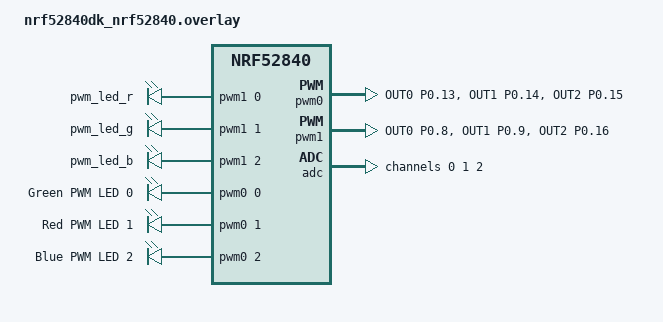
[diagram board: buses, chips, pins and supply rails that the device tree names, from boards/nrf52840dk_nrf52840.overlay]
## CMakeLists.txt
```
cmake_minimum_required(VERSION 3.20.0)
# Top-level CMakeLists.txt for the skeleton application.
#
# Copyright (c) 2017 Open Source Foundries Limited
#
# SPDX-License-Identifier: Apache-2.0
#
# This provides a basic application structure suitable for communication using
# mcumgr.  It can be used as a starting point for new applications.

# Standard Zephyr application boilerplate.
find_package(Zephyr REQUIRED HINTS $ENV{ZEPHYR_BASE})
project(app_purple_pedal)

# include(${ZEPHYR_BASE}/samples/subsys/usb/common/common.cmake)
FILE(GLOB app_sources src/*.c)
target_sources(app PRIVATE ${app_sources})
#include(${ZEPHYR_BASE}/samples/subsys/usb/common/common.cmake)
# FILE(GLOB app_sources src/*.c)
# target_sources(app PRIVATE ${app_sources})
#target_sources(app PRIVATE 
#    src/adc.c
#    src/curve.c
#    src/led.c
#    src/main.c 
#    # src/nvs_settings.c // Saving calibration is in preset.c
#    src/usb.c
#    src/preset.c
#)
```

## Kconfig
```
# Source common USB sample options used to initialize new experimental USB
# device stack. The scope of these options is limited to USB samples in project
# tree, you cannot use them in your own application.



# source "samples/subsys/usb/common/Kconfig.sample_usbd"

menu "USB sample options"
	depends on USB_DEVICE_STACK_NEXT

config SAMPLE_USBD_MANUFACTURER
	string "USB device sample manufacturer string"
	default "Zephyr Project"
	help
	  USB device sample manufacturer string.

config SAMPLE_USBD_PRODUCT
	string "USB device sample product string"
	default "USBD sample"
	help
	  USB device sample product stringa.

config SAMPLE_USBD_VID
	hex "USB device sample Vendor ID"
	default 0x0483
	help
	  USB device sample Vendor ID. The default id (0x2fe3) is associated to
	  Zephyr Project, you must use your own VID for samples and applications
	  outside of Zephyr Project.

config SAMPLE_USBD_PID
	hex "USB device sample Product ID"
	default 0xa575
	help
	  USB device sample Product ID. You must use your own PID for samples
	  and applications outside of Zephyr Project.

config SAMPLE_USBD_DFU_PID
	hex "USB device sample Product ID for DFU mode"
	default 0xffff
	help
	  USB device sample Product ID for DFU mode. You must use your own PID for samples
	  and applications outside of Zephyr Project.

config SAMPLE_USBD_SELF_POWERED
	bool "USB device sample Self-powered attribute"
	default y
	help
	  Set the Self-powered attribute in the sample configuration.

config SAMPLE_USBD_REMOTE_WAKEUP
	bool "USB device sample Remote Wakeup attribute"
	help
	  Set the Remote Wakeup attribute in the sample configuration.

config SAMPLE_USBD_MAX_POWER
	int "USB device sample bMaxPower value"
	default 125
	range 0 250
	help
	  bMaxPower value in the sample configuration in 2 mA units.

config SAMPLE_USBD_20_EXTENSION_DESC
	bool "Use default USB 2.0 Extension Descriptor"
	depends on USBD_BOS_SUPPORT
	help
	  Set bcdUSB value to 0201 and use default USB 2.0 Extension Descriptor.

endmenu

source "Kconfig.zephyr"

# menu "Purple Pedal App options"

# config APP_VERSION_MAJOR
# 	int "Application firmware major version number"
#     default 0
#     range 0 $(UINT8_MAX)
# 	help
# 	  Use this to set firmware version number (major).

# config APP_VERSION_MINOR
# 	int "Application firmware minor version number"
#     default 0
#     range 0 $(UINT8_MAX)
# 	help
# 	  Use this to set firmware version number (minor).

# endmenu

module = APP
module-str = APP
source "subsys/logging/Kconfig.template.log_config"
```

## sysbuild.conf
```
# Enable MCUboot bootloader support
SB_CONFIG_BOOTLOADER_MCUBOOT=y
#SB_CONFIG_MCUBOOT_MODE_OVERWRITE_ONLY=y
SB_CONFIG_MCUBOOT_MODE_SWAP_USING_OFFSET=y
# turn on XIP then update won't work. maybe need to actively select slot to execute?
#SB_CONFIG_MCUBOOT_MODE_DIRECT_XIP=y
```

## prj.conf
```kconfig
CONFIG_FLASH=y
CONFIG_FLASH_MAP=y
CONFIG_STREAM_FLASH=y
CONFIG_IMG_MANAGER=y
CONFIG_IMG_ERASE_PROGRESSIVELY=y

CONFIG_NVS=y
CONFIG_SETTINGS=y
CONFIG_SETTINGS_NVS=y

CONFIG_USB_DEVICE_STACK_NEXT=y
CONFIG_CDC_ACM_SERIAL_INITIALIZE_AT_BOOT=n
CONFIG_USBD_DFU=y
CONFIG_USBD_DFU_FLASH=y
CONFIG_USBD_DFU_FLASH_SLOT0=y
CONFIG_USBD_DFU_FLASH_SLOT1=y
CONFIG_USBD_THREAD_STACK_SIZE=4096
#need to do proper HID initialization otherwise USBD will crash
CONFIG_USBD_HID_SUPPORT=y
#below 2 values helps resolve error msg when plugged into PC
CONFIG_UDC_BUF_COUNT=128
CONFIG_UDC_BUF_POOL_SIZE=8192

CONFIG_LOG=y
CONFIG_USBD_LOG_LEVEL_WRN=y
CONFIG_USBD_DFU_LOG_LEVEL_WRN=y
CONFIG_UDC_DRIVER_LOG_LEVEL_WRN=y
CONFIG_APP_LOG_LEVEL_DBG=y

CONFIG_SAMPLE_USBD_PID=0x0005

# CONFIG_DISK_ACCESS=y

# CONFIG_MAIN_STACK_SIZE=8192
# CONFIG_SYSTEM_WORKQUEUE_STACK_SIZE=8192

CONFIG_ADC=y
#CONFIG_ADC_ASYNC=y

CONFIG_ZBUS=y

CONFIG_LED=y
CONFIG_PWM=y
CONFIG_LED_PWM=y

CONFIG_SMF=y

CONFIG_REBOOT=y

#main stack size might play a role in USB init failure/issue
CONFIG_MAIN_STACK_SIZE=1024

CONFIG_SAMPLE_USBD_MANUFACTURER="Purple Race Labs B.V."
CONFIG_SAMPLE_USBD_PRODUCT="PRL Pedals"
CONFIG_SAMPLE_USBD_VID=0x0483
CONFIG_SAMPLE_USBD_PID=0xa575

#below options helps to debug USB
# CONFIG_USBD_HID_LOG_LEVEL_DBG=y
# CONFIG_USBD_LOG_LEVEL_DBG=y
# CONFIG_UDC_DRIVER_LOG_LEVEL_DBG=y
# CONFIG_SPI_LOG_LEVEL_DBG=y
CONFIG_ADC_LOG_LEVEL_DBG=y
CONFIG_DEBUG_OPTIMIZATIONS=y
CONFIG_SETTINGS_SHELL=y
```

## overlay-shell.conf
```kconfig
CONFIG_SHELL=y
CONFIG_SHELL_BACKEND_SERIAL=y
CONFIG_SHELL_STACK_SIZE=8192

#CONFIG_LOG_BACKEND_UART_ASYNC=y
# CONFIG_SHELL_BACKEND_SERIAL_API_ASYNC=y
# CONFIG_SHELL_BACKEND_SERIAL_INTERRUPT_DRIVEN=n
# CONFIG_UART_ASYNC_API=y
# CONFIG_SHELL_ASYNC_API=y

# CONFIG_UART_ASYNC_API=y
# CONFIG_SHELL_BACKEND_SERIAL_API_ASYNC=y
# CONFIG_LOG_BACKEND_UART_ASYNC=y
# CONFIG_SHELL_ASYNC_API=y

# CONFIG_MAIN_THREAD_PRIORITY=6
# CONFIG_SHELL_THREAD_PRIORITY_OVERRIDE=y
# CONFIG_SHELL_THREAD_PRIORITY=1
# CONFIG_SPEED_OPTIMIZATIONS=y
```

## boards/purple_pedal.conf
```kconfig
# CONFIG_DMA=y
# CONFIG_SPI_STM32_DMA=y
CONFIG_SPI_STM32_INTERRUPT=y
```

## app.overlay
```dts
/*
 * Copyright (c) 2023 Nordic Semiconductor ASA
 *
 * SPDX-License-Identifier: Apache-2.0
 */

// / {
// 	hid_dev_0: hid_dev_0 {
// 		compatible = "zephyr,hid-device";
// 		label = "HID0";
// 		protocol-code = "none";
// 		in-report-size = <64>;
// 		in-polling-period-us = <1000>;
// 	};
// };
```

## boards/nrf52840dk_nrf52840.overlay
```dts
&pinctrl {
	pwm0_default: pwm0_default {
		group1 {
			psels = <NRF_PSEL(PWM_OUT0, 0, 13)>,
				<NRF_PSEL(PWM_OUT1, 0, 14)>,
				<NRF_PSEL(PWM_OUT2, 0, 15)>;
			nordic,invert;
		};
	};

	pwm0_sleep: pwm0_sleep {
		group1 {
			psels = <NRF_PSEL(PWM_OUT0, 0, 13)>,
				<NRF_PSEL(PWM_OUT1, 0, 14)>,
				<NRF_PSEL(PWM_OUT2, 0, 15)>;
			low-power-enable;
		};
	};

	pwm1_default: pwm1_default {
		group1 {
			psels = <NRF_PSEL(PWM_OUT0, 0, 8)>,
				<NRF_PSEL(PWM_OUT1, 0, 9)>,
				<NRF_PSEL(PWM_OUT2, 0, 16)>;
			nordic,invert;
		};
	};

	pwm1_sleep: pwm1_sleep {
		group1 {
			psels = <NRF_PSEL(PWM_OUT0, 0, 8)>,
				<NRF_PSEL(PWM_OUT1, 0, 9)>,
				<NRF_PSEL(PWM_OUT2, 0, 16)>;
			low-power-enable;
		};
	};

};


/ {
	hid_dev_0: hid_dev_0 {
		compatible = "zephyr,hid-device";
		label = "HID0";
		protocol-code = "none";
		in-report-size = <64>;
		in-polling-period-us = <10000>;
	};

	/delete-node/ pwmleds;
	pwm_leds_rgb: pwm1leds {
		compatible = "pwm-leds";
		status = "okay";
		pwm_led_r: pwm_led_r {
			pwms = <&pwm1 0 PWM_MSEC(20) PWM_POLARITY_NORMAL>;
		};
		pwm_led_g: pwm_led_g {
			pwms = <&pwm1 1 PWM_MSEC(20) PWM_POLARITY_NORMAL>;
		};
		pwm_led_b: pwm_led_b {
			pwms = <&pwm1 2 PWM_MSEC(20) PWM_POLARITY_NORMAL>;
		};
	};

	pwm_leds_pedal: pwm0leds {
		compatible = "pwm-leds";
		status = "okay";
		pwm_led0_green: pwm_led_0 {
			pwms = <&pwm0 0 PWM_MSEC(20) PWM_POLARITY_INVERTED>;
			label = "Green PWM LED 0";
		};

		pwm_led1_red: pwm_led_1 {
			pwms = <&pwm0 1 PWM_MSEC(20) PWM_POLARITY_INVERTED>;
			label = "Red PWM LED 1";
		};

		pwm_led2_blue: pwm_led_2 {
			pwms = <&pwm0 2 PWM_MSEC(20) PWM_POLARITY_INVERTED>;
			label = "Blue PWM LED 2";
		};
	};

	aliases {
		pedal-adc = &adc;
		pwm-led0 = &pwm_led0_green;
	};
};

&pwm0 {
	status = "okay";
	pinctrl-0 = <&pwm0_default>;
	pinctrl-1 = <&pwm0_sleep>;
	pinctrl-names = "default", "sleep";
};

&pwm1 {
	status = "okay";
	pinctrl-0 = <&pwm1_default>;
	pinctrl-1 = <&pwm1_sleep>;
	pinctrl-names = "default", "sleep";
};

&adc {
	#address-cells = <1>;
	#size-cells = <0>;

	channel@0 {
		reg = <0>;
		zephyr,gain = "ADC_GAIN_1_6";
		zephyr,reference = "ADC_REF_INTERNAL";
		zephyr,acquisition-time = <ADC_ACQ_TIME_DEFAULT>;
		zephyr,input-positive = <NRF_SAADC_AIN1>; /* P0.03 */
	};

	channel@1 {
		reg = <1>;
		zephyr,gain = "ADC_GAIN_1_6";
		zephyr,reference = "ADC_REF_INTERNAL";
		zephyr,acquisition-time = <ADC_ACQ_TIME_DEFAULT>;
		zephyr,input-positive = <NRF_SAADC_AIN2>;/* P0.04 */
	};

    channel@2 {
		reg = <2>;
		zephyr,gain = "ADC_GAIN_1_6";
		zephyr,reference = "ADC_REF_INTERNAL";
		zephyr,acquisition-time = <ADC_ACQ_TIME_DEFAULT>;
		zephyr,input-positive = <NRF_SAADC_AIN4>;/* P0.28 */
	};
};
```

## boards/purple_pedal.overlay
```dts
#include <zephyr/dt-bindings/adc/ad7124-adc.h>
/ {
	hid_dev_0: hid_dev_0 {
		compatible = "zephyr,hid-device";
		label = "PurplePedal";
		protocol-code = "none";
		in-report-size = <64>;
		in-polling-period-us = <1000>;
	};

	aliases {
		pedal-adc = &adc_ad7124;
	};
};

// &dma1 {
// 	status = "okay";
// };
// &dmamux1 {
// 	status = "okay";
// };
// &spi2 {

//     dmas = <&dma1 2 1 (STM32_DMA_PERIPH_TX | STM32_DMA_PRIORITY_HIGH)>,
//             <&dma1 3 1 (STM32_DMA_PERIPH_RX | STM32_DMA_PRIORITY_HIGH)>;
// 	dma-names = "tx", "rx";
// 	status = "okay";
// };

&adc_ad7124 {
	#address-cells = <1>;
	#size-cells = <0>;
	spi-max-frequency = <1000000>;
    //pin definitions in zephyr/dt-bindings/adc/ad7124-adc.h
    //matches datasheet table 74: https://www.analog.com/media/en/technical-documentation/data-sheets/AD7124-4.pdf
	adc-mode = <0>;	//continuous mode
	power-mode = <2>;//high power mode
	refbuf-enable-mask=<7>;
	bipolar-mask=<7>; //bipolar mode allows input range 0~AVdd
	filter-type-mask=<7>;
	inbuf-enable-mask=<7>;
	channel@0 {
		reg = <0>;
		zephyr,gain = "ADC_GAIN_128";
		zephyr,reference = "ADC_REF_EXTERNAL0"; //ADC_REF_VDD_1 is also OK
		zephyr,acquisition-time = <ADC_ACQ_TIME(ADC_ACQ_TIME_TICKS, 1500)>;
		//zephyr,resolution=<16>;
		zephyr,differential;
		zephyr,input-positive = <AD7124_ADC_AIN1>; 
        zephyr,input-negative = <AD7124_ADC_AIN0>;
	};
	channel@1 {
		reg = <1>;
		zephyr,gain = "ADC_GAIN_128";
		zephyr,reference = "ADC_REF_EXTERNAL0";
		//zephyr,resolution=<16>;
		zephyr,acquisition-time = <ADC_ACQ_TIME(ADC_ACQ_TIME_TICKS, 1500)>;
		zephyr,differential;
		zephyr,input-positive = <AD7124_ADC_AIN3>; 
        zephyr,input-negative = <AD7124_ADC_AIN2>;
	};
    channel@2 {
		reg = <2>;
		zephyr,gain = "ADC_GAIN_128";
		zephyr,reference = "ADC_REF_EXTERNAL0";
		//zephyr,resolution=<16>;
		zephyr,acquisition-time = <ADC_ACQ_TIME(ADC_ACQ_TIME_TICKS, 1500)>;
		zephyr,differential;
		zephyr,input-positive = <AD7124_ADC_AIN5>; 
        zephyr,input-negative = <AD7124_ADC_AIN4>;
	};
};
```

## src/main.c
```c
#include <zephyr/zbus/zbus.h>
#include <zephyr/smf.h>
#include <zephyr/logging/log.h>
#include "common.h"
#include "app_version.h"
// Preset
#include "preset.h" 
#include "curve.h"

LOG_MODULE_REGISTER(main, CONFIG_APP_LOG_LEVEL);

// This is the active live RAM configuration
struct_calibration_t current_calib;
struct_curves_t      current_curves;

ZBUS_CHAN_DEFINE(gamepad_report_out_chan,  /* Name */
		 struct gamepad_report_out, /* Message type */
		 NULL, /* Validator */
		 NULL, /* User data */
		 ZBUS_OBSERVERS(gp_rpt_usb_handler, gp_rpt_led_handler), /* observers */
		 ZBUS_MSG_INIT(.report_id=GAMEPAD_INPUT_REPORT_ID, .clutch=0, .brake=0, .accelerator=0)		      /* Initial value {0} */
);

ZBUS_CHAN_DEFINE(gamepad_feature_report_raw_val_chan,  /* Name */
		 struct gamepad_feature_rpt_raw_val, /* Message type */
		 NULL, /* Validator */
		 NULL, /* User data */
		 ZBUS_OBSERVERS_EMPTY, /* observers */
		 ZBUS_MSG_INIT(.report_id=GAMEPAD_FEATURE_REPORT_RAW_VAL_ID, .clutch_raw=0, .brake_raw=0, .accelerator_raw=0)		      /* Initial value {0} */
);

ZBUS_CHAN_DEFINE(gamepad_status_chan,  /* Name */
		 enum app_state, /* Message type */
		 NULL, /* Validator */
		 NULL, /* User data */
		 ZBUS_OBSERVERS(gp_adc_ctrl_handler, gp_status_led_handler), /* observers */
		 ZBUS_MSG_INIT(APP_STATE_IDLE)		      /* Initial value {0} */
);

//forward declaration
static const struct smf_state usb_sm_states[];

struct usb_state_machine{
	struct smf_ctx sm_ctx;
	const struct smf_state *sm_states;
	struct k_msgq* usb_msgq;
	struct usb_event event;
};

/* USB state machine */
K_MSGQ_DEFINE(usb_sm_msgq, sizeof(struct usb_event), 10, 1); 
static struct usb_state_machine usb_sm = {.usb_msgq = &usb_sm_msgq, .sm_states = usb_sm_states};

// Memory flag for disconnect
volatile uint8_t pedal_connected_flags = 0x07;

static void idle_entry(void *o)
{
	//gamepad_set_status_led(APP_STATE_IDLE);
	LOG_DBG("idle_entry()");
	const enum app_state state = APP_STATE_IDLE;
	int err = zbus_chan_pub(&gamepad_status_chan, &state, K_MSEC(2));
	if (err < 0){
		LOG_ERR("zbus_chan_pub() error (%d)\n", err);
	}	
}

static enum smf_state_result idle_run(void *o)
{
	struct usb_state_machine *usb_sm = CONTAINER_OF(o, struct usb_state_machine, sm_ctx);
	if(usb_sm->event.type == EVENT_HID){
		if(usb_sm->event.hid_ready){
			smf_set_state(&usb_sm->sm_ctx, &usb_sm->sm_states[APP_STATE_HID_WORKING]);
		}
	}
	else if(usb_sm->event.type == EVENT_USBD_MSG){
		if(usb_sm->event.usbd_msg == USBD_MSG_VBUS_READY){
			smf_set_state(&usb_sm->sm_ctx, &usb_sm->sm_states[APP_STATE_CONNECTED]);
		}
	}
	else{
		LOG_ERR("unrecognized usb_event type %d", usb_sm->event.type);
	}
	return SMF_EVENT_HANDLED;
}

static void connected_entry(void *o)
{
	//gamepad_set_status_led(APP_STATE_CONNECTED);
	LOG_DBG("connected_entry()");
	const enum app_state state = APP_STATE_CONNECTED;
	int err = zbus_chan_pub(&gamepad_status_chan, &state, K_MSEC(2));
	if (err < 0){
		LOG_ERR("zbus_chan_pub() error (%d)\n", err);
	}	
}

static enum smf_state_result connected_run(void *o)
{
	struct usb_state_machine *usb_sm = CONTAINER_OF(o, struct usb_state_machine, sm_ctx);

	if(usb_sm->event.type == EVENT_HID){
		if(usb_sm->event.hid_ready){
			smf_set_state(&usb_sm->sm_ctx, &usb_sm->sm_states[APP_STATE_HID_WORKING]);
		}
	}
	else if(usb_sm->event.type == EVENT_USBD_MSG){
		if(usb_sm->event.usbd_msg == USBD_MSG_VBUS_REMOVED){
			smf_set_state(&usb_sm->sm_ctx, &usb_sm->sm_states[APP_STATE_IDLE]);
		}
		else if(usb_sm->event.usbd_msg == USBD_MSG_DFU_APP_DETACH){
			smf_set_state(&usb_sm->sm_ctx, &usb_sm->sm_states[APP_STATE_DFU]);
		}
	}
	else{
		LOG_ERR("unrecognized usb_event type %d", usb_sm->event.type);
	}
	return SMF_EVENT_HANDLED;
}

static void hid_working_entry(void *o)
{
	LOG_DBG("hid_working_entry()");
	const enum app_state state = APP_STATE_HID_WORKING;
	int err = zbus_chan_pub(&gamepad_status_chan, &state, K_MSEC(2));
	if (err < 0){
		LOG_ERR("zbus_chan_pub() error (%d)\n", err);
	}	
}

static enum smf_state_result hid_working_run(void *o)
{
	struct usb_state_machine *usb_sm = CONTAINER_OF(o, struct usb_state_machine, sm_ctx);

	if(usb_sm->event.type == EVENT_HID){
		if(!usb_sm->event.hid_ready){
			smf_set_state(&usb_sm->sm_ctx, &usb_sm->sm_states[APP_STATE_CONNECTED]);
		}
	}
	else if(usb_sm->event.type == EVENT_USBD_MSG){
		if(usb_sm->event.usbd_msg == USBD_MSG_DFU_APP_DETACH){
			smf_set_state(&usb_sm->sm_ctx, &usb_sm->sm_states[APP_STATE_DFU]);
		}
	}
	else{
		LOG_ERR("unrecognized usb_event type %d", usb_sm->event.type);
	}
	return SMF_EVENT_HANDLED;
}

static void dfu_entry(void *o)
{
	LOG_DBG("dfu_entry()");
	const enum app_state state = APP_STATE_DFU;
	int err = zbus_chan_pub(&gamepad_status_chan, &state, K_MSEC(2));
	if (err < 0){
		LOG_ERR("zbus_chan_pub() error (%d)\n", err);
	}	
}

static enum smf_state_result dfu_run(void *o)
{
	struct usb_state_machine *usb_sm = CONTAINER_OF(o, struct usb_state_machine, sm_ctx);

	if(usb_sm->event.type == EVENT_HID){

	}
	else if(usb_sm->event.type == EVENT_USBD_MSG){

	}
	else{
		LOG_ERR("unrecognized usb_event type %d", usb_sm->event.type);
	}
	return SMF_EVENT_HANDLED;
}

static const struct smf_state usb_sm_states[] = {
        [APP_STATE_IDLE] = SMF_CREATE_STATE(idle_entry, idle_run, NULL, NULL, NULL),
        [APP_STATE_CONNECTED] = SMF_CREATE_STATE(connected_entry, connected_run, NULL, NULL, NULL),
        [APP_STATE_HID_WORKING] = SMF_CREATE_STATE(hid_working_entry, hid_working_run, NULL, NULL, NULL),
        [APP_STATE_DFU] = SMF_CREATE_STATE(dfu_entry, dfu_run, NULL, NULL, NULL),
};

void post_usb_event(struct usb_event event)
{
	//TODO: if this function is called by two events, what will happen?
	//a loop should be designed to block reading from message queue and run the state machine
	//state machine code is getting complex, 
	//see zephyr official example:
	//https://github.com/zephyrproject-rtos/zephyr/blob/87a6d5b77d7eeaea29d3e3eafe346a5879c79d4c/samples/subsys/smf/hsm_psicc2/src/hsm_psicc2_thread.c#L316
	int err = k_msgq_put(usb_sm.usb_msgq, &event, K_FOREVER);
	if(err){
		LOG_ERR("k_msgq_put() returns %d", err);
	}
}

static void set_factory_defaults(void)
{
    LOG_INF("Storage empty. Generating Linear Defaults.");

    // Set Calibration Defaults
    for(int i=0; i<3; i++) {
        current_calib.offset[i] = LOAD_CELL_DEFAULT_OFFSET;
        current_calib.scale[i]  = LOAD_CELL_DEFAULT_SCALE;
    }

    // Set Curve Defaults (Linear Ramp)
    // Point 0 = 0, Point 64 = 65535.
    // Each step is 1024 (65535 / 64 approx).
    for (int ch = 0; ch < CURVE_CHANNELS; ch++) {
        for (int i = 0; i < CURVE_POINTS; i++) {
            uint32_t val = i * 1024;
            
            // Clamp the last point to exactly 65535 (since 64*1024 = 65536)
            if (val > 65535) val = 65535;
            
            current_curves.points[ch][i] = (uint16_t)val;
        }
    }
    
    // Save these defaults so next boot is faster
    storage_save_active(&current_calib, &current_curves);
}

int main(void)
{
	int err;

	LOG_INF("PurplePedal App Version: v%u.%u.%u", APP_VERSION_MAJOR, APP_VERSION_MINOR, APP_PATCHLEVEL);


	// Load active preset into RAM
	storage_init();
	// Try to load. If it fails (returns non-zero), create defaults.
    if (storage_load_active(&current_calib, &current_curves) != 0) {
        set_factory_defaults();
    }

	app_adc_init();
    app_usb_init();

	// //init state machine and run the state machine event loop here
	smf_set_initial(&usb_sm.sm_ctx, &usb_sm_states[APP_STATE_IDLE]);
	while(1){
		//k_msleep(1000);
		err = k_msgq_get(usb_sm.usb_msgq, &usb_sm.event, K_FOREVER);
		if(err == 0){
			err = smf_run_state(&usb_sm.sm_ctx);
			if(err){
				LOG_INF("%s terminating state machine thread", __func__);
				break;
			}
		}
		else{
			LOG_ERR("k_msgq_get() returns %d", err);
		}
	}
	return 0;
}
```

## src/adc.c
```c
#include <zephyr/kernel.h>
#include <zephyr/drivers/adc.h>
#include <zephyr/zbus/zbus.h>
#include <zephyr/logging/log.h>

#include "common.h"

LOG_MODULE_REGISTER(app_adc, CONFIG_APP_LOG_LEVEL);

// #define ADC_NODE_ID DT_ALIAS(pedal_adc)
// #define ADC_CHANNEL_COUNT DT_CHILD_NUM(ADC_NODE_ID)
// #define ADC_SAMPLE_PERIOD K_MSEC(10)

// #define CONFIG_SEQUENCE_SAMPLES (1)
// #define ADC_NUM_BITS (12)
#define ADC_VAL_MIN (0)
#define ADC_VAL_MAX (BIT_MASK(ADC_NUM_BITS))
#define ADC_VAL_MID (BIT(ADC_NUM_BITS-1))

#define ADC_GAIN (128)
#define LOAD_CELL_MV_V (1)
#define LOAD_CELL_MAX ((uint64_t)ADC_VAL_MID * ADC_GAIN * LOAD_CELL_MV_V / 1000ULL)

#define APP_ADC_STACK_SIZE 4096
#define APP_ADC_PRIORITY 5

ZBUS_CHAN_DECLARE(gamepad_report_out_chan);
ZBUS_CHAN_DECLARE(gamepad_feature_report_raw_val_chan);

struct app_adc_ctx{
	struct k_work_q *workq;
	struct k_work work;
	const struct device *adc;
	const struct adc_channel_cfg ch_cfgs[ADC_CHANNEL_COUNT];
	const struct adc_sequence_options adc_seq_opt;
	struct adc_sequence seq;
	const struct gamepad_calibration *calibration;
	int32_t channel_reading[CONFIG_SEQUENCE_SAMPLES][ADC_CHANNEL_COUNT];
} ;

// enum adc_action adc_seq_cb(const struct device *dev,const struct adc_sequence *sequence,uint16_t sampling_index)
// {
// 	uint16_t (*reading)[CHANNEL_COUNT] = (uint16_t (*)[CHANNEL_COUNT])sequence->buffer;
// 	struct gamepad_report_out rpt = {
// 		.accelerator = (int32_t)reading[0][0] * (GAMEPAD_REPORT_VALUE_MAX - GAMEPAD_REPORT_VALUE_MIN) / (ADC_VAL_MAX - ADC_VAL_MIN) + GAMEPAD_REPORT_VALUE_MIN,
// 		.brake = (int32_t)reading[0][1] * (GAMEPAD_REPORT_VALUE_MAX - GAMEPAD_REPORT_VALUE_MIN) / (ADC_VAL_MAX - ADC_VAL_MIN) + GAMEPAD_REPORT_VALUE_MIN,
// 		.clutch = (int32_t)reading[0][2] * (GAMEPAD_REPORT_VALUE_MAX - GAMEPAD_REPORT_VALUE_MIN) / (ADC_VAL_MAX - ADC_VAL_MIN) + GAMEPAD_REPORT_VALUE_MIN,
// 	};
// 	int err = zbus_chan_pub(&gamepad_report_out_chan, &rpt, K_MSEC(2));

// 	struct app_adc_ctx *ctx = (struct app_adc_ctx *)sequence->options->user_data;
// 	err = k_sem_take(&ctx->sem_stop, K_NO_WAIT);
// 	if(err == 0)
// 		return ADC_ACTION_FINISH;
// 	else
// 		return ADC_ACTION_REPEAT;
// }

//uint16_t channel_reading[CONFIG_SEQUENCE_SAMPLES][CHANNEL_COUNT];

//forward declaration
static void app_adc_work_handler(struct k_work *work);

K_THREAD_STACK_DEFINE(app_adc_workq_stack_area, APP_ADC_STACK_SIZE);
static struct k_work_q app_adc_workq;
static struct app_adc_ctx ctx = {
	.workq = &app_adc_workq,
	.work = Z_WORK_INITIALIZER(app_adc_work_handler),
	.adc = DEVICE_DT_GET(ADC_NODE_ID),
	.ch_cfgs={DT_FOREACH_CHILD_SEP(ADC_NODE_ID, ADC_CHANNEL_CFG_DT, (,))},
	.adc_seq_opt = {
		.extra_samplings = CONFIG_SEQUENCE_SAMPLES - 1,
		.interval_us = 0,
		//.callback = adc_seq_cb,
		.user_data = &ctx,
	},
	.seq = {
		.channels = BIT_MASK(ADC_CHANNEL_COUNT),
		.buffer = ctx.channel_reading,
		.buffer_size = 	SIZEOF_FIELD(struct app_adc_ctx, channel_reading),
		//.resolution = 12,
		.resolution = 24,
		//.resolution = DT_PROP(ADC_NODE_ID, resolution),
		.options = &ctx.adc_seq_opt,
	},
	//.sem_stop = Z_SEM_INITIALIZER(ctx.sem_stop, 0, 1),
};

// static void app_adc_work_handler(struct k_work *work)
// {
// 	struct app_adc_ctx *ctx = CONTAINER_OF(work, struct app_adc_ctx, work);
// 	int err;
// 	if (!device_is_ready(ctx->adc)) {
// 		LOG_ERR("ADC controller device %s not ready\n", ctx->adc->name);
// 	}
// 	for (size_t i = 0U; i < CHANNEL_COUNT; i++) {
// 		err = adc_channel_setup(ctx->adc, &ctx->ch_cfgs[i]);
// 		if (err < 0) {
// 			LOG_ERR("Could not setup channel #%d (%d)\n", i, err);
// 		}
// 	}
// 	err = adc_read(ctx->adc, &ctx->seq);
// 	if (err < 0){
// 		LOG_ERR("adc_read() error (%d)\n", err);
// 	}
// 	LOG_DBG("app_adc_work_handler() ended");
// }

static inline uint16_t raw_to_uint16(int32_t raw, int32_t offset, int32_t scale)
{
	//clamp the <offset values. also when loadcell is disconnect, we should output 0
	if(raw < offset || raw >= LOAD_CELL_DISCONNECT_THRESHOLD) return 0;

	int64_t val_64 = ((int64_t)(raw - offset)) * UINT16_MAX / scale;
	return (val_64 > UINT16_MAX)? UINT16_MAX : (uint16_t)val_64;
}

static uint16_t curve_calculate(uint16_t in, const uint16_t *curve_points, size_t num_points)
{	//assume curve_points is sorted in ascending order, and in is also in ascending order
	//find the segment that in is in, then do linear interpolation

	size_t idx = in * (num_points-1) / (UINT16_MAX);
	//now in is between curve_points[idx] and curve_points[idx+1]

	size_t in0 = idx * (UINT16_MAX) / (num_points-1);
	//size_t in1 = (idx+1) * (UINT16_MAX) / (num_points-1);

    uint32_t x = in - in0;
    uint32_t y0 = curve_points[idx];
    uint32_t y1 = curve_points[idx + 1];

    uint32_t out = y0 + x * (y1 - y0) * (num_points - 1) / UINT16_MAX;

    return (uint16_t)out;

}

static void app_adc_work_handler(struct k_work *work)
{
	struct app_adc_ctx *ctx = CONTAINER_OF(work, struct app_adc_ctx, work);
	//int64_t begin = k_uptime_get();
	int err = adc_read(ctx->adc, &ctx->seq);
	//LOG_DBG("adc time: %d ms", (int32_t)(k_uptime_get()-begin));
	if (err < 0){
		LOG_ERR("adc_read() error (%d)\n", err);
	}
	// struct gamepad_report_out rpt = {
	// 	.accelerator = (int64_t)ctx->channel_reading[0][0] * (GAMEPAD_REPORT_VALUE_MAX - GAMEPAD_REPORT_VALUE_MIN) / (ADC_VAL_MAX - ADC_VAL_MIN) + GAMEPAD_REPORT_VALUE_MIN,
	// 	.brake = (int64_t)ctx->channel_reading[0][1] * (GAMEPAD_REPORT_VALUE_MAX - GAMEPAD_REPORT_VALUE_MIN) / (ADC_VAL_MAX - ADC_VAL_MIN) + GAMEPAD_REPORT_VALUE_MIN,
	// 	.clutch = (int64_t)ctx->channel_reading[0][2] * (GAMEPAD_REPORT_VALUE_MAX - GAMEPAD_REPORT_VALUE_MIN) / (ADC_VAL_MAX - ADC_VAL_MIN) + GAMEPAD_REPORT_VALUE_MIN,
	// };

	// struct gamepad_report_out rpt = {
	// 	.report_id = GAMEPAD_INPUT_REPORT_ID,
	// 	.accelerator = 
	// 	((int64_t)(ctx->channel_reading[0][0] - ADC_VAL_MID))
	// 	*32768
	// 	/LOAD_CELL_MAX,

	// 	.brake = 
	// 	((int64_t)(ctx->channel_reading[0][1] - ADC_VAL_MID))
	// 	*32768
	// 	/LOAD_CELL_MAX,

	// 	.clutch = 
	// 	((int64_t)(ctx->channel_reading[0][2] - ADC_VAL_MID))
	// 	*32768
	// 	/LOAD_CELL_MAX,
	// };

	struct gamepad_feature_rpt_raw_val rpt_raw_val = {
		.report_id = GAMEPAD_FEATURE_REPORT_RAW_VAL_ID,
		.accelerator_raw = ctx->channel_reading[0][SETTING_INDEX_ACCELERATOR],
		.brake_raw = ctx->channel_reading[0][SETTING_INDEX_BRAKE],
		.clutch_raw = ctx->channel_reading[0][SETTING_INDEX_CLUTCH],
	};

	// LOG_INF("rpt_raw_val.acc_raw = 0x%x, .brake_raw = 0x%x, .clutch_raw = 0x%x", 
	// 	rpt_raw_val.accelerator_raw, rpt_raw_val.brake_raw, rpt_raw_val.clutch_raw);

	// struct gamepad_report_out rpt = {
	// 	.report_id = GAMEPAD_INPUT_REPORT_ID,
	// 	.accelerator = 
	// 		raw_to_uint16(rpt_raw_val.accelerator_raw, 
	// 				ctx->calibration->offset[SETTING_INDEX_ACCELERATOR], 
	// 				ctx->calibration->scale[SETTING_INDEX_ACCELERATOR]),
	// 	.brake = raw_to_uint16(rpt_raw_val.brake_raw, 
	// 				ctx->calibration->offset[SETTING_INDEX_BRAKE], 
	// 				ctx->calibration->scale[SETTING_INDEX_BRAKE]),
	// 	.clutch = raw_to_uint16(rpt_raw_val.clutch_raw, 
	// 				ctx->calibration->offset[SETTING_INDEX_CLUTCH], 
	// 				ctx->calibration->scale[SETTING_INDEX_CLUTCH]),
	// };

	uint16_t acc_tmp = 	raw_to_uint16(rpt_raw_val.accelerator_raw, 
					ctx->calibration->offset[SETTING_INDEX_ACCELERATOR], 
					ctx->calibration->scale[SETTING_INDEX_ACCELERATOR]);
	uint16_t brake_tmp = 	raw_to_uint16(rpt_raw_val.brake_raw, 
					ctx->calibration->offset[SETTING_INDEX_BRAKE], 
					ctx->calibration->scale[SETTING_INDEX_BRAKE]);
	uint16_t clutch_tmp = 	raw_to_uint16(rpt_raw_val.clutch_raw, 
					ctx->calibration->offset[SETTING_INDEX_CLUTCH], 
					ctx->calibration->scale[SETTING_INDEX_CLUTCH]);

	//TODO: apply curve here
	const struct gamepad_curve* curve = get_active_curve_slot();
	uint16_t acc_final = curve_calculate(acc_tmp, curve->accelerator, GAMEPAD_FEATURE_REPORT_CURVE_NUM_POINTS);
	uint16_t brake_final = curve_calculate(brake_tmp, curve->brake, GAMEPAD_FEATURE_REPORT_CURVE_NUM_POINTS);
	uint16_t clutch_final = curve_calculate(clutch_tmp, curve->clutch, GAMEPAD_FEATURE_REPORT_CURVE_NUM_POINTS);

	struct gamepad_report_out rpt = {
		.report_id = GAMEPAD_INPUT_REPORT_ID,
		.accelerator = acc_final,
		.brake = brake_final,
		.clutch = clutch_final,
	};

	//LOG_INF("gamepad report: accelerator = %d, brake = %d, clutch = %d",rpt.accelerator, rpt.brake, rpt.clutch);

	// struct gamepad_report_out rpt = {
	// 	.accelerator = 100,
	// 	.brake = 200,
	// 	.clutch = 300,
	// };
	//int64_t acc = (int64_t)ctx->channel_reading[0][0] * (GAMEPAD_REPORT_VALUE_MAX - GAMEPAD_REPORT_VALUE_MIN) / (ADC_VAL_MAX - ADC_VAL_MIN);
	//LOG_ERR("acc(%lld)\n", (ADC_VAL_MAX - ADC_VAL_MIN));
	err = zbus_chan_pub(&gamepad_report_out_chan, &rpt, ADC_SAMPLE_PERIOD);
	if (err < 0){
		LOG_ERR("zbus_chan_pub(&gamepad_report_out_chan) error (%d)\n", err);
	}
	err = zbus_chan_pub(&gamepad_feature_report_raw_val_chan, &rpt_raw_val, ADC_SAMPLE_PERIOD);
	if (err < 0){
		LOG_ERR("zbus_chan_pub(&gamepad_feature_report_raw_val_chan) error (%d)\n", err);
	}				
	//LOG_DBG("app_adc_work_handler() ended");
}

static void app_adc_timer_handler(struct k_timer *timer)
{
	struct app_adc_ctx *ctx = (struct app_adc_ctx *)k_timer_user_data_get(timer);
	//check if the work is already busy, avoid resubmitting
	if (k_work_busy_get(&ctx->work)){
		LOG_INF("adc already working.");
	}
	else{
		int err = k_work_submit_to_queue(ctx->workq, &ctx->work);
		if (err < 0){
			LOG_ERR("k_work_submit_to_queue() returns %d", err);
		}
	}
}
static K_TIMER_DEFINE(app_adc_timer, app_adc_timer_handler, NULL);

// static void gamepad_adc_ctrl_cb(const struct zbus_channel *chan)
// {
// 	int err;
// 	const enum app_adc_action *action = zbus_chan_const_msg(chan);

// 	//TODO: perform start / stop actions
// 	if(*action == APP_ADC_ACTION_START){
// 		//check if the work is already busy, avoid resubmitting
// 		if(k_work_busy_get(&ctx.work)){
// 			LOG_INF("adc already working.");
// 		}
// 		else{
// 			err = k_work_submit_to_queue(&app_adc_work_q, &ctx.work);
// 			if(err<0){
// 				LOG_ERR("k_work_submit_to_queue() returns %d", err);
// 			}
// 		}
// 		return;
// 	}

// 	if(*action == APP_ADC_ACTION_STOP){
// 		k_sem_give(&ctx.sem_stop);
// 		return;
// 	}
// }

// static void gamepad_adc_ctrl_cb(const struct zbus_channel *chan)
// {
// 	const enum app_adc_action *action = zbus_chan_const_msg(chan);
// 	//perform start / stop actions
// 	if(*action == APP_ADC_ACTION_START){
// 		k_timer_start(&app_adc_timer, K_MSEC(0), ADC_SAMPLE_PERIOD);
// 		return;
// 	}

// 	if(*action == APP_ADC_ACTION_STOP){
// 		k_timer_stop(&app_adc_timer);
// 		return;
// 	}
// }
// ZBUS_LISTENER_DEFINE(gp_adc_ctrl_handler, gamepad_adc_ctrl_cb);

static void gamepad_adc_ctrl_cb(const struct zbus_channel *chan)
{
	const enum app_state *state = zbus_chan_const_msg(chan);
	if(*state == APP_STATE_HID_WORKING){
		LOG_DBG("start ADC timer");
		k_timer_start(&app_adc_timer, K_MSEC(0), ADC_SAMPLE_PERIOD);
		return;
	}
	else{
		LOG_DBG("stop ADC timer");
		k_timer_stop(&app_adc_timer);
		return;
	}
}
ZBUS_LISTENER_DEFINE(gp_adc_ctrl_handler, gamepad_adc_ctrl_cb);

int app_adc_init(void)
{
	int err;
	if (!device_is_ready(ctx.adc)){
		LOG_ERR("ADC controller device %s not ready\n", ctx.adc->name);
	}
	for (size_t i = 0U; i < ADC_CHANNEL_COUNT; i++){
		err = adc_channel_setup(ctx.adc, &ctx.ch_cfgs[i]);
		if (err < 0){
			LOG_ERR("Could not setup channel #%d (%d)\n", i, err);
		}
	}
	k_timer_user_data_set(&app_adc_timer, &ctx);
	k_work_queue_init(&app_adc_workq);
	k_work_queue_start(&app_adc_workq, app_adc_workq_stack_area,K_THREAD_STACK_SIZEOF(app_adc_workq_stack_area), APP_ADC_PRIORITY,NULL);

	//get the pointer to calibration settings
	ctx.calibration = get_calibration();
	return 0;
}
```

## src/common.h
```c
#ifdef __cplusplus
extern "C" {
#endif

#include <stdint.h>
#include <stdbool.h>
#include <zephyr/usb/usbd_msg.h>

#define ADC_NODE_ID DT_ALIAS(pedal_adc)
#define ADC_CHANNEL_COUNT DT_CHILD_NUM(ADC_NODE_ID)
#define ADC_SAMPLE_PERIOD K_MSEC(10)

#define CONFIG_SEQUENCE_SAMPLES (1)
#define ADC_NUM_BITS (24)
#define ADC_GAIN (128)
#define ADC_VAL_MAX (BIT_MASK(ADC_NUM_BITS))
#define ADC_VAL_MID (BIT(ADC_NUM_BITS-1))

#define LOAD_CELL_MV_V (1)
#define LOAD_CELL_DEFAULT_SCALE ((uint64_t)ADC_VAL_MID * ADC_GAIN * LOAD_CELL_MV_V / 1000ULL)
#define LOAD_CELL_DEFAULT_OFFSET (ADC_VAL_MID)
#define LOAD_CELL_DISCONNECT_THRESHOLD (ADC_VAL_MAX * 99 / 100)

#define USB_DEVICE_CONTROLLER_ID DT_NODELABEL(zephyr_udc0)
#define HID_DEVICE_ID DT_NODELABEL(hid_dev_0)

#define PWM_LED_PEDAL_NODE_ID	 DT_NODELABEL(pwm_leds_pedal)
#define PWM_LED_STATUS_NODE_ID	 DT_NODELABEL(pwm_leds_rgb)

// enum app_adc_action {
// 	/** The sequence should be continued normally. */
// 	APP_ADC_ACTION_NONE = 0,
// 	APP_ADC_ACTION_START,
// 	APP_ADC_ACTION_STOP,
// };

#define GAMEPAD_INPUT_REPORT_ID (0x01)
#define GAMEPAD_FEATURE_REPORT_RAW_VAL_ID (0x02)
#define GAMEPAD_FEATURE_REPORT_CALIB_ID (0x03)
#define GAMEPAD_FEATURE_REPORT_UID_ID (0x04)
#define GAMEPAD_FEATURE_REPORT_UID_LENGTH (12) //12bytes UID length for STM32

#define GAMEPAD_FEATURE_REPORT_CURVE_NUM_POINTS (32)

#define GAMEPAD_FEATURE_REPORT_ACTIVE_CURVE_ID (0x10)
#define GAMEPAD_FEATURE_REPORT_CURVE_SLOT_ID_BASE (0x10)
#define GAMEPAD_FEATURE_REPORT_CURVE_SLOT1_ID (0x11)
#define GAMEPAD_FEATURE_REPORT_CURVE_SLOT2_ID (0x12)
#define GAMEPAD_FEATURE_REPORT_CURVE_SLOT3_ID (0x13)
#define GAMEPAD_FEATURE_REPORT_CURVE_SLOT4_ID (0x14)
#define GAMEPAD_FEATURE_REPORT_CURVE_SLOT5_ID (0x15)
#define GAMEPAD_FEATURE_REPORT_CURVE_SLOT_NUM (5)

#define GAMEPAD_TOTAL_CURVE_SLOT_NUM (GAMEPAD_FEATURE_REPORT_CURVE_SLOT_NUM+1) //use index 0 as default slot!

enum app_state{
	APP_STATE_IDLE=0,
	APP_STATE_CONNECTED,
	APP_STATE_HID_WORKING,
	APP_STATE_DFU,
	APP_STATE_NUM,
};

enum gamepad_setting_index{
	SETTING_INDEX_ACCELERATOR = 0,
	SETTING_INDEX_BRAKE,
	SETTING_INDEX_CLUTCH,
	SETTING_INDEX_TOTAL,
};

struct gamepad_calibration{
	int32_t offset[SETTING_INDEX_TOTAL];
	int32_t scale[SETTING_INDEX_TOTAL];
}__packed;

struct gamepad_curve{
    uint16_t accelerator[GAMEPAD_FEATURE_REPORT_CURVE_NUM_POINTS]; 
	uint16_t brake[GAMEPAD_FEATURE_REPORT_CURVE_NUM_POINTS]; 
	uint16_t clutch[GAMEPAD_FEATURE_REPORT_CURVE_NUM_POINTS]; 
}__packed __aligned(2);

struct gamepad_report_out{
	uint8_t report_id;
    uint16_t accelerator;
    uint16_t brake;
    uint16_t clutch;
}__packed;

struct gamepad_feature_rpt_raw_val{
	uint8_t report_id;
	uint32_t accelerator_raw: 24; //need to define as uint32_t otherwise c compiler will process sign bit
	uint32_t brake_raw: 24;
	uint32_t clutch_raw:24;
}__packed;

struct gamepad_feature_rpt_calib{
	uint8_t report_id;
	struct gamepad_calibration calib;
}__packed;

struct gamepad_feature_rpt_uid{
	uint8_t report_id;
	uint8_t uid[GAMEPAD_FEATURE_REPORT_UID_LENGTH];
}__packed;

struct gamepad_feature_rpt_active_curve {
	uint8_t report_id;
	uint8_t active_curve_slot; //0 means no curve, 1-3 means curve slot 1-3
} __packed;

struct gamepad_feature_rpt_curve {
	uint8_t report_id;
	uint8_t : 8;
	struct gamepad_curve curve;
} __packed __aligned(2);

struct gamepad_curve_context{
	struct gamepad_curve curve_slot[GAMEPAD_TOTAL_CURVE_SLOT_NUM];
	uint8_t active_curve_slot;
};

enum usb_event_type{
	EVENT_HID = 0,
	EVENT_USBD_MSG,
};

struct usb_event{
	enum usb_event_type type;
	union {
		bool hid_ready;
		enum usbd_msg_type usbd_msg;
	};
};

#define GAMEPAD_REPORT_VALUE_MAX (INT16_MAX)
#define GAMEPAD_REPORT_VALUE_MIN (INT16_MIN)

typedef int (*gamepad_sample_ready_callback)(void);

int app_adc_init(void);
int app_usb_init(void);
int app_setting_init(void);
const struct gamepad_calibration *get_calibration(void);
int set_calibration(const struct gamepad_calibration *calib);

uint8_t get_active_curve(void);
int set_active_curve(uint8_t slot);

const struct gamepad_curve* get_curve_slot(uint8_t slot_id);
int set_curve_slot(uint8_t slot_id, const struct gamepad_curve *curve);
const struct gamepad_curve* get_active_curve_slot(void);

//void gamepad_set_status_led(const enum app_state state);
void post_usb_event(struct usb_event event);

#ifdef __cplusplus
}
#endif
```

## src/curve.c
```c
#include "curve.h"
#include <string.h> // for memcpy
#include <stdio.h>
#include <stdlib.h>
#include <zephyr/kernel.h>
#include "common.h"
#include <zephyr/settings/settings.h>

#include <zephyr/logging/log.h>
LOG_MODULE_REGISTER(curve, CONFIG_LOG_DEFAULT_LEVEL);


uint16_t curve_apply(uint8_t channel, uint16_t linear_input) {
    // Safety check
    if (channel >= CURVE_CHANNELS) return linear_input;

    // --- Optimization: Read directly from Global RAM ---
    // We access 'current_curves' which is defined in common.h/main.c
    
    // 1. Find chunk index
    uint8_t index = linear_input >> 10; 
    
    if (index >= (CURVE_POINTS - 1)) {
        return current_curves.points[channel][CURVE_POINTS - 1];
    }

    // 2. Linear Interpolation
    uint16_t x_start = index << 10;
    uint16_t y_start = current_curves.points[channel][index];
    uint16_t y_end   = current_curves.points[channel][index + 1];

    uint32_t fraction = linear_input - x_start;
    int32_t delta = (int32_t)y_end - (int32_t)y_start;

    // Bit-shift division ( / 1024)
    int32_t result = y_start + ((delta * (int32_t)fraction) >> 10);

    return (uint16_t)result;
}
```

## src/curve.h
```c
#ifndef APP_CURVE_H_
#define APP_CURVE_H_

#include <stdint.h>
#include <stdbool.h>
#include "common.h"

// The Main Math Function
// Takes the LINEAR calibrated value and applies the curve
uint16_t curve_apply(uint8_t channel, uint16_t linear_input);

#endif /* APP_CURVE_H_ */
```

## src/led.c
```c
#include <zephyr/kernel.h>
#include <zephyr/zbus/zbus.h>
#include <zephyr/drivers/led.h>
#include <zephyr/logging/log.h>

#include "common.h"

LOG_MODULE_REGISTER(led, CONFIG_APP_LOG_LEVEL);

//#define LED_PWM_NODE_ID	 DT_COMPAT_GET_ANY_STATUS_OKAY(pwm_leds)
static const struct device *led_pwm_pedal = DEVICE_DT_GET(PWM_LED_PEDAL_NODE_ID);

static void gamepad_set_led_brightness(const struct device *dev, uint32_t led, int32_t pedal_value)
{
	bool is_connected = (pedal_connected_flags & (1 << led));
	if (!is_connected) {
        // Disconnected
        // Force LED OFF completely
        led_set_brightness(dev, led, 0);
        return;
    }
	int32_t br = 2 + (pedal_value * 98) / 65535;
	uint8_t brightness = (br <0) ? 0 : ((br>100) ? 100 : (uint8_t)br);
	//LOG_DBG("LED: %u, brightness: %u", led, brightness);
	int err = led_set_brightness(dev, led, brightness);
	if(err){
		LOG_ERR("led_set_brightness() returns %d", err);
	}
}

static void gamepad_report_led_cb(const struct zbus_channel *chan)
{
	const struct gamepad_report_out *rpt = zbus_chan_const_msg(chan);
	//LOG_INF("gamepad report: accelerator = %d, brake = %d, clutch = %d",rpt->accelerator, rpt->brake, rpt->clutch);
	//set LED PWM level according to gamepad report data
	gamepad_set_led_brightness(led_pwm_pedal, SETTING_INDEX_CLUTCH, rpt->clutch);
	gamepad_set_led_brightness(led_pwm_pedal, SETTING_INDEX_BRAKE, rpt->brake);
	gamepad_set_led_brightness(led_pwm_pedal, SETTING_INDEX_ACCELERATOR, rpt->accelerator);
}
ZBUS_LISTENER_DEFINE(gp_rpt_led_handler, gamepad_report_led_cb);

static const struct device *led_pwm_status = DEVICE_DT_GET(PWM_LED_STATUS_NODE_ID);

#define NUM_STATUS_LED (3)
struct status_led_pattern{
	//uint32_t led[NUM_STATUS_LED];
	uint32_t delay_on[NUM_STATUS_LED]; //Time period (in milliseconds) an LED should be ON
	uint32_t delay_off[NUM_STATUS_LED];
};

const struct status_led_pattern patterns[APP_STATE_NUM] = {
	[APP_STATE_IDLE]	= {.delay_on = {5, 0, 0}, .delay_off = {15, 20, 20}},
	[APP_STATE_CONNECTED] 		= {.delay_on = {5, 5, 0}, .delay_off = {15, 15, 20}},
	[APP_STATE_HID_WORKING] 	= {.delay_on = {0, 5, 0}, .delay_off = {20, 15, 20}},
	[APP_STATE_DFU] 			= {.delay_on = {0, 0, 250}, .delay_off = {500, 500, 250}},
};

static void gamepad_status_led_cb(const struct zbus_channel *chan)
{
	int err;
	const enum app_state *state = zbus_chan_const_msg(chan);
	LOG_DBG("set status LED to status %d", *state);

	for(uint32_t i=0; i<NUM_STATUS_LED; i++){
		err = led_blink(led_pwm_status, i, patterns[*state].delay_on[i], patterns[*state].delay_off[i]);
		if(err){
			LOG_ERR("led_blink() returns %d", err);
		}
	}
}
ZBUS_LISTENER_DEFINE(gp_status_led_handler, gamepad_status_led_cb);

// void gamepad_set_status_led(const enum app_state state)
// {
// 	int err;
// 	LOG_DBG("set status LED to status %d", state);

// 	for(uint32_t i=0; i<NUM_STATUS_LED; i++){
// 		err = led_blink(led_pwm_status, i, patterns[state].delay_on[i], patterns[state].delay_off[i]);
// 		if(err){
// 			LOG_ERR("led_blink() returns %d", err);
// 		}
// 	}
// }
```

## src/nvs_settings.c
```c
#include <zephyr/logging/log.h>
#include <zephyr/settings/settings.h>

#include "common.h"
LOG_MODULE_REGISTER(nvs_settings, CONFIG_APP_LOG_LEVEL);

#define SETTING_GAMEPAD_ROOT "gamepad"

#define SETTING_SUB_CALIBRATION "calib"

#define SETTING_SUB_CURVE "curve"
#define SETTING_SUB_CURVE_ACTIVE "active"
#define SETTING_SUB_CURVE_SLOT "slot"

#define SETTING_CALIBRATION SETTING_GAMEPAD_ROOT"/"SETTING_SUB_CALIBRATION
#define SETTING_CURVE_ACTIVE SETTING_GAMEPAD_ROOT"/"SETTING_SUB_CURVE"/"SETTING_SUB_CURVE_ACTIVE
#define SETTING_CURVE_SLOT SETTING_GAMEPAD_ROOT"/"SETTING_SUB_CURVE"/"SETTING_SUB_CURVE_SLOT

#define SETTING_CALIBRATION_LEN (sizeof(struct gamepad_calibration))
#define SETTING_CURVE_ACTIVE_LEN (SIZEOF_FIELD(struct gamepad_feature_rpt_active_curve, active_curve_slot))

// static const char *SETTING_CURVE_SLOT_STRS[GAMEPAD_FEATURE_REPORT_CURVE_SLOT_NUM] = {
// 	//Note: slot0 is the defaut slot that only lives in RAM
// 	SETTING_CURVE_SLOT(1),
// 	SETTING_CURVE_SLOT(2),
// 	SETTING_CURVE_SLOT(3),
// 	SETTING_CURVE_SLOT(4),
// 	SETTING_CURVE_SLOT(5),
// };

static struct gamepad_calibration gp_calibration = {
    .offset = {[0 ... SETTING_INDEX_TOTAL-1] = LOAD_CELL_DEFAULT_OFFSET},
    .scale = {[0 ... SETTING_INDEX_TOTAL-1] = LOAD_CELL_DEFAULT_SCALE},
};

static struct gamepad_curve_context gp_curve_ctx = {
	.active_curve_slot = 0,
	.curve_slot = {
		[0 ... GAMEPAD_TOTAL_CURVE_SLOT_NUM-1] = {
			.accelerator = {[0 ... GAMEPAD_FEATURE_REPORT_CURVE_NUM_POINTS-1] = 0},
			.brake = {[0 ... GAMEPAD_FEATURE_REPORT_CURVE_NUM_POINTS-1] = 0},
			.clutch = {[0 ... GAMEPAD_FEATURE_REPORT_CURVE_NUM_POINTS-1] = 0},
		}
	}
};

int gampepad_setting_handle_set(const char *name, size_t len, settings_read_cb read_cb, void *cb_arg)
{
	int rc;
	const char *next;
	if (settings_name_steq(name, SETTING_SUB_CALIBRATION, &next) && !next) {
		if (len != SETTING_CALIBRATION_LEN) {
			return -EINVAL;
		}
		rc = read_cb(cb_arg, &gp_calibration, SETTING_CALIBRATION_LEN);
		if (rc >= 0) {
			return 0;
		}
		return rc;
	}

	if (settings_name_steq(name, SETTING_SUB_CURVE"/"SETTING_SUB_CURVE_ACTIVE, &next) && !next) {
		if (len != SETTING_CURVE_ACTIVE_LEN) {
			return -EINVAL;
		}
		rc = read_cb(cb_arg, &gp_curve_ctx.active_curve_slot, SETTING_CURVE_ACTIVE_LEN);
		if (rc >= 0) {
			return 0;
		}
		return rc;
	}

	if(settings_name_steq(name, SETTING_SUB_CURVE"/"SETTING_SUB_CURVE_SLOT, &next) && next){
		if(*next < '1' || *next > '5'){
			return -EINVAL;
		}
		uint8_t slot = *next - '0';

		if(len != sizeof(struct gamepad_curve)){
			return -EINVAL;
		}

		rc = read_cb(cb_arg, &gp_curve_ctx.curve_slot[slot], sizeof(struct gamepad_curve));
		if(rc >= 0){
			return 0;
		}
		return rc;
	}

    return -ENOENT;
}

SETTINGS_STATIC_HANDLER_DEFINE(gamepad, SETTING_GAMEPAD_ROOT, NULL, gampepad_setting_handle_set, NULL, NULL);

int app_setting_init(void)
{
	//initialize default values for curves
	for(size_t slot=0; slot<GAMEPAD_TOTAL_CURVE_SLOT_NUM; slot++){
		for(size_t i=0; i<GAMEPAD_FEATURE_REPORT_CURVE_NUM_POINTS; i++){
			uint16_t val = (uint16_t)(UINT16_MAX * i / (GAMEPAD_FEATURE_REPORT_CURVE_NUM_POINTS-1));
			gp_curve_ctx.curve_slot[slot].accelerator[i] = val;
			gp_curve_ctx.curve_slot[slot].brake[i] = val;
			gp_curve_ctx.curve_slot[slot].clutch[i] = val;
		}
	}

	int rc = settings_subsys_init();
	if (rc) {
		LOG_ERR("settings subsys initialization: fail (err %d)", rc);
		return -EINVAL;
	}
	rc = settings_load();
	if (rc) {
		LOG_ERR("settings subsys load: fail (err %d)", rc);
		return -EINVAL;
	}
	LOG_DBG("settings subsys initialization: OK.");
	return 0;

}

const struct gamepad_calibration *get_calibration(void)
{
    return &gp_calibration;
}

int set_calibration(const struct gamepad_calibration *calib)
{
    int err = settings_save_one(SETTING_CALIBRATION, calib, SETTING_CALIBRATION_LEN);
    if(err) return err;
    return settings_load_subtree(SETTING_CALIBRATION);
}

int set_active_curve(uint8_t slot)
{
	if(slot > GAMEPAD_FEATURE_REPORT_CURVE_SLOT_NUM){
		return -EINVAL;
	}
	//TODO: shall we set to default slot0 value?
	int err = settings_save_one(SETTING_CURVE_ACTIVE, &slot, sizeof(slot));
	if(err) return err;
	return settings_load_subtree(SETTING_CURVE_ACTIVE);
}

uint8_t get_active_curve(void)
{
	return gp_curve_ctx.active_curve_slot;
}

int set_curve_slot(uint8_t slot_id, const struct gamepad_curve *curve)
{
	uint8_t slot = slot_id - GAMEPAD_FEATURE_REPORT_CURVE_SLOT_ID_BASE;
	if(slot == 0 || slot > GAMEPAD_FEATURE_REPORT_CURVE_SLOT_NUM){
		return -EINVAL;
	}
	char setting_name[sizeof(SETTING_CURVE_SLOT) + 2]; //+2 for / and slot number
	snprintf(setting_name, sizeof(setting_name), SETTING_CURVE_SLOT"/""%d", slot);
	int err = settings_save_one(setting_name, curve, sizeof(struct gamepad_curve));
	if(err) return err;
	return settings_load_subtree(setting_name);
}

const struct gamepad_curve* get_curve_slot(uint8_t slot_id)
{	
	uint8_t slot = slot_id - GAMEPAD_FEATURE_REPORT_CURVE_SLOT_ID_BASE;
	if(slot > GAMEPAD_FEATURE_REPORT_CURVE_SLOT_NUM){
		return NULL;
	}
	return &gp_curve_ctx.curve_slot[slot];
}

const struct gamepad_curve* get_active_curve_slot(void)
{
	return get_curve_slot(gp_curve_ctx.active_curve_slot + GAMEPAD_FEATURE_REPORT_CURVE_SLOT_ID_BASE);
}
```

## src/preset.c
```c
#include <zephyr/kernel.h>
#include <zephyr/settings/settings.h>
#include <zephyr/logging/log.h>
#include <stdio.h>
#include <stdlib.h>
#include <string.h>
#include "common.h"
#include "preset.h"

LOG_MODULE_REGISTER(storage, CONFIG_APP_LOG_LEVEL);

// Temp buffers for loading
static struct_calibration_t temp_calib;
static struct_curves_t temp_curves;

/* * UNIVERSAL HANDLER
 * Handles both "active/..." and "preset/..." keys.
 * * Scenarios:
 * 1. "active/calib" -> Parse "calib"
 * 2. "preset/0/calib" -> Parse "0/calib" -> Parse ID 0 -> Parse "calib"
 */
static int storage_handle_set(const char *name, size_t len, settings_read_cb read_cb, void *cb_arg)
{
    const char *next = name;
    
    // Check if this is a PRESET key (starts with a digit like "0/...")
    if (isdigit((unsigned char)*name)) {
        // It's a preset! Skip the ID and slash.
        // "0/calib" -> atoi gets 0.
        // strchr finds the slash.
        const char *slash = strchr(name, '/');
        if (!slash) return -ENOENT;
        next = slash + 1; // "calib"
    }
    
    // Now 'next' points to the type ("calib" or "curve")
    if (strcmp(next, "calib") == 0) {
        if (len != sizeof(temp_calib)) return -EINVAL;
        return read_cb(cb_arg, &temp_calib, sizeof(temp_calib));
    }
    
    if (strcmp(next, "curve") == 0) {
        if (len != sizeof(temp_curves)) return -EINVAL;
        return read_cb(cb_arg, &temp_curves, sizeof(temp_curves));
    }

    return -ENOENT;
}

// Register TWO roots: "active" and "preset"
// They both point to the same handler logic for simplicity.
SETTINGS_STATIC_HANDLER_DEFINE(h_active, "active", NULL, storage_handle_set, NULL, NULL);
SETTINGS_STATIC_HANDLER_DEFINE(h_preset, "preset", NULL, storage_handle_set, NULL, NULL);


void storage_init(void)
{
    settings_subsys_init();
}

// BOOT: Load "active"
int storage_load_active(struct_calibration_t *calib, struct_curves_t *curves)
{
    int rc;
    LOG_INF("Loading Active Config...");
    
    // Load Calibration
    rc = settings_load_subtree("active/calib");
    if (rc == 0) *calib = temp_calib; // Copy buffer to user RAM
    
    // Load Curves
    rc = settings_load_subtree("active/curve");
    if (rc == 0) *curves = temp_curves;
    
    return 0;
}

// PERSIST: Save RAM to "active"
int storage_save_active(struct_calibration_t *calib, struct_curves_t *curves)
{
    int rc;
    rc = settings_save_one("active/calib", calib, sizeof(*calib));
    rc |= settings_save_one("active/curve", curves, sizeof(*curves));
    return rc;
}

// SAVE PRESET: Save RAM to "preset/X"
int storage_save_preset(int slot, struct_calibration_t *calib, struct_curves_t *curves)
{
    char key[32];
    int rc;
    
    snprintf(key, sizeof(key), "preset/%d/calib", slot);
    rc = settings_save_one(key, calib, sizeof(*calib));
    
    snprintf(key, sizeof(key), "preset/%d/curve", slot);
    rc |= settings_save_one(key, curves, sizeof(*curves));
    
    return rc;
}

// LOAD PRESET: Load "preset/X" -> RAM -> "active"
int storage_load_preset(int slot, struct_calibration_t *calib, struct_curves_t *curves)
{
    char key[32];
    int rc;

    // Load Calib from Preset
    snprintf(key, sizeof(key), "preset/%d/calib", slot);
    rc = settings_load_subtree(key);
    if (rc == 0) *calib = temp_calib;

    // Load Curve from Preset
    snprintf(key, sizeof(key), "preset/%d/curve", slot);
    rc = settings_load_subtree(key);
    if (rc == 0) *curves = temp_curves;
    
    // AUTO-SAVE to Active
    // This ensures if the user reboots now, they stay on this preset.
    storage_save_active(calib, curves);
    
    return 0;
}
```

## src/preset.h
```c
#ifndef APP_PRESET_H_
#define APP_PRESET_H_
#include <stdint.h>

void storage_init(void);

// Boot: Loads "active/" keys into RAM
int storage_load_active(struct_calibration_t *calib, struct_curves_t *curves);

// Save RAM -> "active/" keys (Call this when settings change live)
int storage_save_active(struct_calibration_t *calib, struct_curves_t *curves);

// Save RAM -> "preset/X/" keys
int storage_save_preset(int slot_id, struct_calibration_t *calib, struct_curves_t *curves);

// Load "preset/X/" -> RAM (and auto-save to "active/" so it persists)
int storage_load_preset(int slot_id, struct_calibration_t *calib, struct_curves_t *curves);

#endif
```
